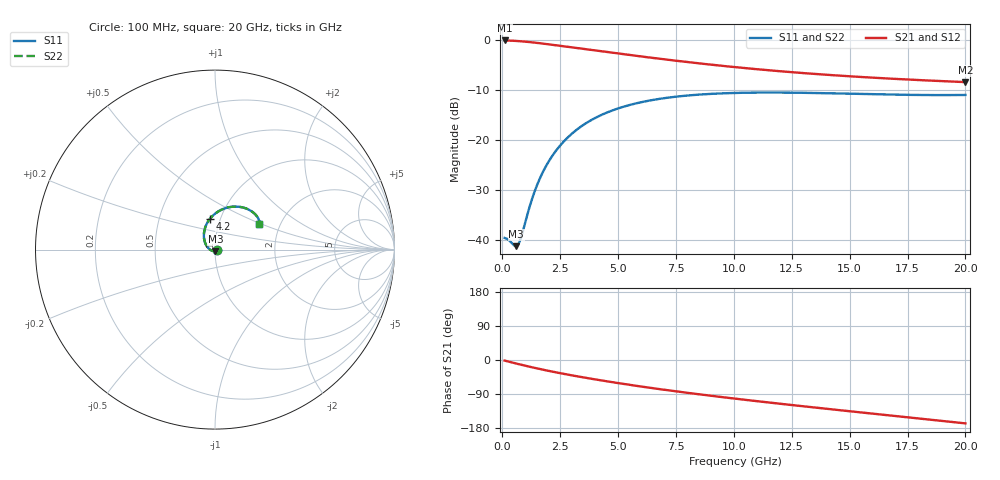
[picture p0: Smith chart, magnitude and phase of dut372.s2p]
! Touchstone file exported from HFSS 2024.1.0
!  File:  C:/UserFiles/LocalFiles/RDL_TSV_Batchsim/temp_RDL_TSV_372_1779643298.aedt
!  Generated:  01:38:27 AM May 25, 2026
!  Design:  RDL_TSV
!  Project:  temp_RDL_TSV_372_1779643298
!  Setup:  Setup1
!  Solution:  Sweep
! Variables:
!  dtsv = 9.83um
!  hbump = 3um
!  htsv = 97.95um
!  ldown = 343.74um
!  lrdl = 236.67um
!  p = 40
!  p1 = 48.47um
!  rhole = 10um
!  subl = 1977.9um
!  t = 450um
!  tdown = 4.65um
!  trdl = 4.41um
!  viad = 10um
!  wdown = 14.32um
!  wrdl = 18.35um
!  xbump = 18um
# GHz S MA R 50.000000
! Terminal data exported
! Port[1] = TM1_1_T1
! Port[2] = TM1_4_T1
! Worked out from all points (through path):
!   200 points, 100 MHz to 20 GHz, reference 50 ohm
!   highest |S21| = -0.10 dB at 100 MHz (marker M1); lowest = -8.4 dB at 20 GHz (marker M2)
!   group delay of S21, straight-line fit = 21.7 ps
!   lowest |S11| = -41.2 dB at 600 MHz (marker M3), VSWR 1.02, Z = 50.2 - j0.855 ohm
!   |S11| at or under -10 dB: start of sweep to end of sweep
!   |S22| runs from -41.2 to -10.5 dB; largest |S21 - S12| = 1.6e-14
!   S11 on the Smith chart (normalised r, x): 100 MHz: 1.02, -0.00; 4.2 GHz: 0.89, +0.32; 20 GHz: 1.55, +0.49
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0.1  0.01051 -8.2  0.989 -1.6  0.989 -1.6  0.01051 -8.2
! Gamma 0 0 0 0
! Port Impedance 50 0 50 0
0.2  0.01032 -17.6  0.9878 -3.2  0.9878 -3.2  0.01032 -17.6
0.6  0.0087 -78.2  0.9781 -9.3  0.9781 -9.3  0.0087 -78.2
0.7  0.009142 -99.6  0.9746 -10.8  0.9746 -10.8  0.009142 -99.6
0.8  0.01042 -119.9  0.9707 -12.3  0.9707 -12.3  0.01042 -120.0
1.2  0.02235 -170.4  0.9519 -18.1  0.9519 -18.1  0.02235 -170.4
1.4  0.0308 175.9  0.941 -20.9  0.941 -20.9  0.03081 175.9
1.6  0.04021 165.4  0.9294 -23.5  0.9294 -23.5  0.04022 165.4
1.9  0.05554 152.9  0.9112 -27.4  0.9112 -27.4  0.05556 152.9
2.2  0.07172 142.7  0.8926 -31.2  0.8926 -31.2  0.07174 142.7
2.6  0.09375 131.3  0.8678 -35.9  0.8678 -35.9  0.09377 131.3
3  0.1155 121.6  0.8434 -40.5  0.8434 -40.5  0.1156 121.6
3.5  0.1416 111.2  0.8139 -45.9  0.8139 -45.9  0.1416 111.2
4.2  0.1747 98.9  0.7746 -53.1  0.7746 -53.1  0.1748 99.0
5.4  0.2208 82.3  0.7127 -64.6  0.7127 -64.6  0.2209 82.3
6.8  0.2582 67.7  0.649 -76.9  0.649 -76.9  0.2583 67.7
8.4  0.2835 55.3  0.5874 -89.8  0.5874 -89.8  0.2836 55.3
10.1  0.2958 45.6  0.534 -102.3  0.534 -102.3  0.2959 45.6
11.7  0.2984 39.0  0.4937 -113.5  0.4937 -113.5  0.2985 39.0
13.4  0.2955 34.2  0.4595 -124.8  0.4595 -124.8  0.2957 34.2
16.7  0.2849 30.0  0.4115 -146.1  0.4115 -146.1  0.285 30.0
20  0.2822 30.8  0.3792 -167.2  0.3792 -167.2  0.2823 30.8
